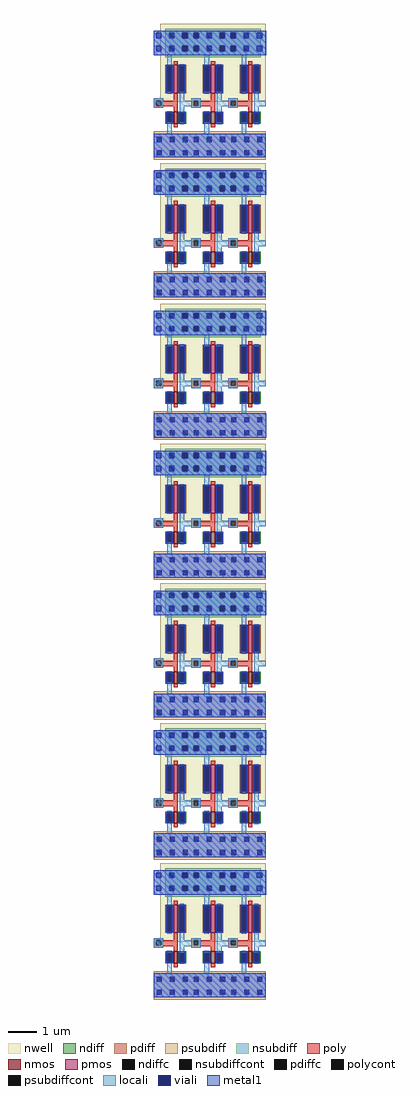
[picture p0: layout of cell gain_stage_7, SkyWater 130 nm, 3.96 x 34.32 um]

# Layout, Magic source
magic
tech sky130A
<< nwell >>
rect 100 428 118 446
rect 139 428 157 446
rect 231 428 249 446
rect 270 428 288 446
rect 100 382 118 400
rect 139 382 157 400
rect 231 382 249 400
rect 270 382 288 400
rect 100 -64 118 -46
rect 139 -64 157 -46
rect 231 -64 249 -46
rect 270 -64 288 -46
rect 100 -110 118 -92
rect 139 -110 157 -92
rect 231 -110 249 -92
rect 270 -110 288 -92
rect 100 -557 118 -539
rect 139 -557 157 -539
rect 231 -557 249 -539
rect 270 -557 288 -539
rect 100 -603 118 -585
rect 139 -603 157 -585
rect 231 -603 249 -585
rect 270 -603 288 -585
rect 100 -1049 118 -1031
rect 139 -1049 157 -1031
rect 231 -1049 249 -1031
rect 270 -1049 288 -1031
rect 100 -1095 118 -1077
rect 139 -1095 157 -1077
rect 231 -1095 249 -1077
rect 270 -1095 288 -1077
rect 100 -1541 118 -1523
rect 139 -1541 157 -1523
rect 231 -1541 249 -1523
rect 270 -1541 288 -1523
rect 100 -1587 118 -1569
rect 139 -1587 157 -1569
rect 231 -1587 249 -1569
rect 270 -1587 288 -1569
rect 100 -2033 118 -2015
rect 139 -2033 157 -2015
rect 231 -2033 249 -2015
rect 270 -2033 288 -2015
rect 100 -2079 118 -2061
rect 139 -2079 157 -2061
rect 231 -2079 249 -2061
rect 270 -2079 288 -2061
rect 100 -2525 118 -2507
rect 139 -2525 157 -2507
rect 231 -2525 249 -2507
rect 270 -2525 288 -2507
rect 100 -2571 118 -2553
rect 139 -2571 157 -2553
rect 231 -2571 249 -2553
rect 270 -2571 288 -2553
<< psubdiff >>
rect 0 8 393 92
rect 0 -484 393 -400
rect -1 -977 394 -892
rect 0 -1470 393 -1385
rect 0 -1961 393 -1877
rect 0 -2453 393 -2368
rect 0 -2945 393 -2861
<< nsubdiffcont >>
rect 100 428 118 446
rect 139 428 157 446
rect 231 428 249 446
rect 270 428 288 446
rect 100 382 118 400
rect 139 382 157 400
rect 231 382 249 400
rect 270 382 288 400
rect 100 -64 118 -46
rect 139 -64 157 -46
rect 231 -64 249 -46
rect 270 -64 288 -46
rect 100 -110 118 -92
rect 139 -110 157 -92
rect 231 -110 249 -92
rect 270 -110 288 -92
rect 100 -557 118 -539
rect 139 -557 157 -539
rect 231 -557 249 -539
rect 270 -557 288 -539
rect 100 -603 118 -585
rect 139 -603 157 -585
rect 231 -603 249 -585
rect 270 -603 288 -585
rect 100 -1049 118 -1031
rect 139 -1049 157 -1031
rect 231 -1049 249 -1031
rect 270 -1049 288 -1031
rect 100 -1095 118 -1077
rect 139 -1095 157 -1077
rect 231 -1095 249 -1077
rect 270 -1095 288 -1077
rect 100 -1541 118 -1523
rect 139 -1541 157 -1523
rect 231 -1541 249 -1523
rect 270 -1541 288 -1523
rect 100 -1587 118 -1569
rect 139 -1587 157 -1569
rect 231 -1587 249 -1569
rect 270 -1587 288 -1569
rect 100 -2033 118 -2015
rect 139 -2033 157 -2015
rect 231 -2033 249 -2015
rect 270 -2033 288 -2015
rect 100 -2079 118 -2061
rect 139 -2079 157 -2061
rect 231 -2079 249 -2061
rect 270 -2079 288 -2061
rect 100 -2525 118 -2507
rect 139 -2525 157 -2507
rect 231 -2525 249 -2507
rect 270 -2525 288 -2507
rect 100 -2571 118 -2553
rect 139 -2571 157 -2553
rect 231 -2571 249 -2553
rect 270 -2571 288 -2553
<< locali >>
rect 0 182 33 216
rect 369 188 393 208
rect 0 8 393 92
rect 0 -310 33 -276
rect 369 -304 393 -284
rect 0 -484 393 -400
rect 0 -803 33 -769
rect 369 -797 393 -777
rect -1 -977 394 -892
rect 0 -1295 33 -1261
rect 369 -1289 393 -1269
rect 0 -1470 393 -1385
rect 0 -1787 33 -1753
rect 369 -1781 393 -1761
rect 0 -1961 393 -1877
rect 0 -2279 33 -2245
rect 369 -2273 393 -2253
rect 0 -2453 393 -2368
rect 0 -2771 33 -2737
rect 369 -2765 393 -2745
rect 0 -2945 393 -2861
<< viali >>
rect 100 428 118 446
rect 139 428 157 446
rect 231 428 249 446
rect 270 428 288 446
rect 100 382 118 400
rect 139 382 157 400
rect 231 382 249 400
rect 270 382 288 400
rect 100 -64 118 -46
rect 139 -64 157 -46
rect 231 -64 249 -46
rect 270 -64 288 -46
rect 100 -110 118 -92
rect 139 -110 157 -92
rect 231 -110 249 -92
rect 270 -110 288 -92
rect 100 -557 118 -539
rect 139 -557 157 -539
rect 231 -557 249 -539
rect 270 -557 288 -539
rect 100 -603 118 -585
rect 139 -603 157 -585
rect 231 -603 249 -585
rect 270 -603 288 -585
rect 100 -1049 118 -1031
rect 139 -1049 157 -1031
rect 231 -1049 249 -1031
rect 270 -1049 288 -1031
rect 100 -1095 118 -1077
rect 139 -1095 157 -1077
rect 231 -1095 249 -1077
rect 270 -1095 288 -1077
rect 100 -1541 118 -1523
rect 139 -1541 157 -1523
rect 231 -1541 249 -1523
rect 270 -1541 288 -1523
rect 100 -1587 118 -1569
rect 139 -1587 157 -1569
rect 231 -1587 249 -1569
rect 270 -1587 288 -1569
rect 100 -2033 118 -2015
rect 139 -2033 157 -2015
rect 231 -2033 249 -2015
rect 270 -2033 288 -2015
rect 100 -2079 118 -2061
rect 139 -2079 157 -2061
rect 231 -2079 249 -2061
rect 270 -2079 288 -2061
rect 100 -2525 118 -2507
rect 139 -2525 157 -2507
rect 231 -2525 249 -2507
rect 270 -2525 288 -2507
rect 100 -2571 118 -2553
rect 139 -2571 157 -2553
rect 231 -2571 249 -2553
rect 270 -2571 288 -2553
<< metal1 >>
rect 0 446 394 454
rect 0 428 100 446
rect 118 428 139 446
rect 157 428 231 446
rect 249 428 270 446
rect 288 428 394 446
rect 0 400 394 428
rect 0 382 100 400
rect 118 382 139 400
rect 157 382 231 400
rect 249 382 270 400
rect 288 382 394 400
rect 0 368 394 382
rect 0 8 393 92
rect 1 -46 395 -37
rect 1 -64 100 -46
rect 118 -64 139 -46
rect 157 -64 231 -46
rect 249 -64 270 -46
rect 288 -64 395 -46
rect 1 -92 395 -64
rect 1 -110 100 -92
rect 118 -110 139 -92
rect 157 -110 231 -92
rect 249 -110 270 -92
rect 288 -110 395 -92
rect 1 -123 395 -110
rect 0 -484 393 -400
rect 0 -539 394 -531
rect 0 -557 100 -539
rect 118 -557 139 -539
rect 157 -557 231 -539
rect 249 -557 270 -539
rect 288 -557 394 -539
rect 0 -585 394 -557
rect 0 -603 100 -585
rect 118 -603 139 -585
rect 157 -603 231 -585
rect 249 -603 270 -585
rect 288 -603 394 -585
rect 0 -617 394 -603
rect -1 -977 394 -892
rect 0 -1031 394 -1023
rect 0 -1049 100 -1031
rect 118 -1049 139 -1031
rect 157 -1049 231 -1031
rect 249 -1049 270 -1031
rect 288 -1049 394 -1031
rect 0 -1077 394 -1049
rect 0 -1095 100 -1077
rect 118 -1095 139 -1077
rect 157 -1095 231 -1077
rect 249 -1095 270 -1077
rect 288 -1095 394 -1077
rect 0 -1109 394 -1095
rect 0 -1470 393 -1385
rect 0 -1523 394 -1515
rect 0 -1541 100 -1523
rect 118 -1541 139 -1523
rect 157 -1541 231 -1523
rect 249 -1541 270 -1523
rect 288 -1541 394 -1523
rect 0 -1569 394 -1541
rect 0 -1587 100 -1569
rect 118 -1587 139 -1569
rect 157 -1587 231 -1569
rect 249 -1587 270 -1569
rect 288 -1587 394 -1569
rect 0 -1601 394 -1587
rect 0 -1961 393 -1877
rect 0 -2015 394 -2007
rect 0 -2033 100 -2015
rect 118 -2033 139 -2015
rect 157 -2033 231 -2015
rect 249 -2033 270 -2015
rect 288 -2033 394 -2015
rect 0 -2061 394 -2033
rect 0 -2079 100 -2061
rect 118 -2079 139 -2061
rect 157 -2079 231 -2061
rect 249 -2079 270 -2061
rect 288 -2079 394 -2061
rect 0 -2093 394 -2079
rect 0 -2453 393 -2368
rect 0 -2507 394 -2499
rect 0 -2525 100 -2507
rect 118 -2525 139 -2507
rect 157 -2525 231 -2507
rect 249 -2525 270 -2507
rect 288 -2525 394 -2507
rect 0 -2553 394 -2525
rect 0 -2571 100 -2553
rect 118 -2571 139 -2553
rect 157 -2571 231 -2553
rect 249 -2571 270 -2553
rect 288 -2571 394 -2553
rect 0 -2585 394 -2571
rect 0 -2945 393 -2861
use gain_stage  gain_stage_0
transform 1 0 0 0 1 0
box 0 0 393 479
use gain_stage  gain_stage_1
transform 1 0 0 0 1 -492
box 0 0 393 479
use gain_stage  gain_stage_2
transform 1 0 0 0 1 -985
box 0 0 393 479
use gain_stage  gain_stage_3
transform 1 0 0 0 1 -1477
box 0 0 393 479
use gain_stage  gain_stage_4
transform 1 0 0 0 1 -1969
box 0 0 393 479
use gain_stage  gain_stage_5
transform 1 0 0 0 1 -2461
box 0 0 393 479
use gain_stage  gain_stage_6
transform 1 0 0 0 1 -2953
box 0 0 393 479
<< end >>

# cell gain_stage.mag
magic
tech sky130A
<< nwell >>
rect 131 461 153 479
rect 262 461 284 479
rect 113 361 171 461
rect 244 361 302 461
rect 131 203 153 361
rect 262 203 284 361
<< nsubdiff >>
rect 113 361 171 461
rect 244 361 302 461
<< locali >>
rect 0 195 8 202
rect 385 194 393 201
<< metal1 >>
rect 185 446 202 454
rect 186 8 203 16
use inverter_p1_n0o42  inverter_p1_n0o42_0
transform 1 0 40 0 1 114
box -40 -114 91 365
use inverter_p1_n0o42  inverter_p1_n0o42_1
transform 1 0 171 0 1 114
box -40 -114 91 365
use inverter_p1_n0o42  inverter_p1_n0o42_2
transform 1 0 302 0 1 114
box -40 -114 91 365
<< labels >>
rlabel locali 0 195 8 202 7 in
port 1 w
rlabel locali 385 194 393 201 3 out
port 2 e
rlabel metal1 186 8 203 16 5 VGND
port 3 s
rlabel metal1 185 446 202 454 1 VDPWR
port 4 n
<< end >>

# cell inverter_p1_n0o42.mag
magic
tech sky130A
magscale 1 2
<< nwell >>
rect -36 502 182 730
rect -16 478 152 502
rect 12 444 46 478
<< psubdiff >>
rect -80 -68 182 -28
rect -80 -104 -62 -68
rect -26 -104 30 -68
rect 66 -104 122 -68
rect 158 -104 182 -68
rect -80 -160 182 -104
rect -80 -196 -62 -160
rect -26 -196 30 -160
rect 66 -196 122 -160
rect 158 -196 182 -160
rect -80 -228 182 -196
<< nsubdiff >>
rect 0 664 146 694
rect 0 628 28 664
rect 64 628 146 664
rect 0 572 146 628
rect 0 536 28 572
rect 64 536 146 572
rect 0 494 146 536
<< psubdiffcont >>
rect -62 -104 -26 -68
rect 30 -104 66 -68
rect 122 -104 158 -68
rect -62 -196 -26 -160
rect 30 -196 66 -160
rect 122 -196 158 -160
<< nsubdiffcont >>
rect 28 628 64 664
rect 28 536 64 572
<< poly >>
rect -80 188 -14 204
rect 58 188 88 214
rect -80 152 -64 188
rect -30 152 88 188
rect -80 148 88 152
rect -80 136 -14 148
rect 58 136 88 148
<< polycont >>
rect -64 152 -30 188
<< locali >>
rect -80 664 182 680
rect -80 628 -64 664
rect -28 628 28 664
rect 64 628 120 664
rect 156 628 182 664
rect -80 572 182 628
rect -80 536 -64 572
rect -28 536 28 572
rect 64 536 120 572
rect 156 536 182 572
rect -80 508 182 536
rect 12 444 46 508
rect -80 188 -14 204
rect -80 152 -64 188
rect -30 152 -14 188
rect -80 136 -14 152
rect 100 188 134 236
rect 100 148 182 188
rect 100 114 134 148
rect 12 -44 46 22
rect -80 -68 182 -44
rect -80 -104 -62 -68
rect -26 -104 30 -68
rect 66 -104 122 -68
rect 158 -104 182 -68
rect -80 -160 182 -104
rect -80 -196 -62 -160
rect -26 -196 30 -160
rect 66 -196 122 -160
rect 158 -196 182 -160
rect -80 -212 182 -196
<< viali >>
rect -64 628 -28 664
rect 28 628 64 664
rect 120 628 156 664
rect -64 536 -28 572
rect 28 536 64 572
rect 120 536 156 572
rect -62 -104 -26 -68
rect 30 -104 66 -68
rect 122 -104 158 -68
rect -62 -196 -26 -160
rect 30 -196 66 -160
rect 122 -196 158 -160
<< metal1 >>
rect -80 664 182 680
rect -80 628 -64 664
rect -28 628 28 664
rect 64 628 120 664
rect 156 628 182 664
rect -80 572 182 628
rect -80 536 -64 572
rect -28 536 28 572
rect 64 536 120 572
rect 156 536 182 572
rect -80 508 182 536
rect -80 -68 182 -44
rect -80 -104 -62 -68
rect -26 -104 30 -68
rect 66 -104 122 -68
rect 158 -104 182 -68
rect -80 -160 182 -104
rect -80 -196 -62 -160
rect -26 -196 30 -160
rect 66 -196 122 -160
rect 158 -196 182 -160
rect -80 -212 182 -196
use sky130_fd_pr__nfet_01v8_PNPQML  sky130_fd_pr__nfet_01v8_PNPQML_0
transform 1 0 73 0 1 68
box -73 -68 73 68
use sky130_fd_pr__pfet_01v8_TH65V5  sky130_fd_pr__pfet_01v8_TH65V5_0
transform 1 0 73 0 1 340
box -109 -162 109 162
<< end >>

# cell sky130_fd_pr__nfet_01v8_PNPQML: kit device sky130_fd_pr__nfet_01v8, w 0.420 l 0.150 m 1 nf 1 diffcov 100 polycov 100 guard 0 glc 1 grc 1 gtc 1 gbc 1 tbcov 100 rlcov 100 topc 0 botc 0 poverlap 0 doverlap 1 lmin 0.15 wmin 0.42 class mosfet compatible {sky130_fd_pr__nfet_01v8 sky130_fd_pr__nfet_01v8_lvt sky130_fd_bs_flash__special_sonosfet_star sky130_fd_pr__nfet_g5v0d10v5 sky130_fd_pr__nfet_05v0_nvt sky130_fd_pr__nfet_03v3_nvt} full_metal 0 viasrc 100 viadrn 100 viagate 100 viagb 0 viagr 0 viagl 0 viagt 0

# cell sky130_fd_pr__pfet_01v8_TH65V5: kit device sky130_fd_pr__pfet_01v8, w 1 l 0.15 m 1 nf 1 diffcov 100 polycov 100 guard 0 glc 1 grc 1 gtc 1 gbc 1 tbcov 100 rlcov 100 topc 0 botc 0 poverlap 0 doverlap 1 lmin 0.15 wmin 0.42 class mosfet compatible {sky130_fd_pr__pfet_01v8 sky130_fd_pr__pfet_01v8_lvt sky130_fd_pr__pfet_01v8_hvt sky130_fd_pr__pfet_g5v0d10v5} full_metal 0 viasrc 100 viadrn 100 viagate 100 viagb 0 viagr 0 viagl 0 viagt 0
